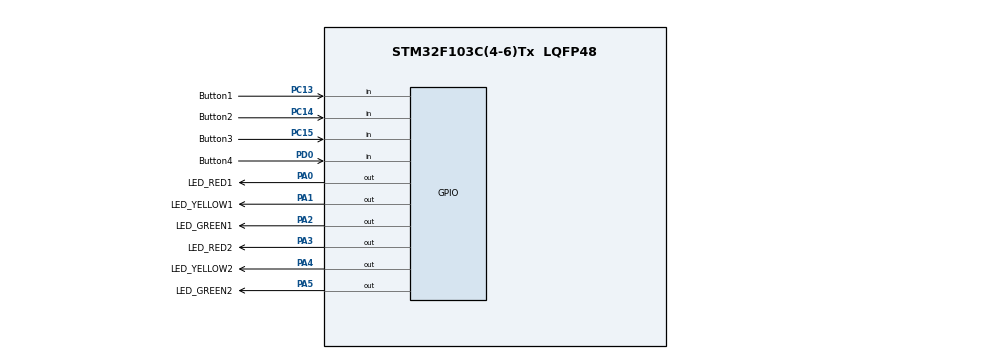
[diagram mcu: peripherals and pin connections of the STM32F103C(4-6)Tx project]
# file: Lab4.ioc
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Mcu.Family=STM32F1
Mcu.Name=STM32F103C(4-6)Tx
Mcu.Package=LQFP48
NVIC.PriorityGroup=NVIC_PRIORITYGROUP_4
NVIC.TIM2_IRQn=true\:0\:0\:false\:false\:true\:true\:true
PA0-WKUP.GPIO_Label=LED_RED1
PA0-WKUP.Signal=GPIO_Output
PA1.GPIO_Label=LED_YELLOW1
PA1.Signal=GPIO_Output
PA13.Mode=Serial_Wire
PA13.Signal=SYS_JTMS-SWDIO
PA14.Mode=Serial_Wire
PA14.Signal=SYS_JTCK-SWCLK
PA2.GPIO_Label=LED_GREEN1
PA2.Signal=GPIO_Output
PA3.GPIO_Label=LED_RED2
PA3.Signal=GPIO_Output
PA4.GPIO_Label=LED_YELLOW2
PA4.Signal=GPIO_Output
PA5.GPIO_Label=LED_GREEN2
PA5.Signal=GPIO_Output
PC13-TAMPER-RTC.GPIO_Label=Button1
PC13-TAMPER-RTC.GPIO_PuPd=GPIO_PULLUP
PC13-TAMPER-RTC.Signal=GPIO_Input
PC14-OSC32_IN.GPIO_Label=Button2
PC14-OSC32_IN.GPIO_PuPd=GPIO_PULLUP
PC14-OSC32_IN.Signal=GPIO_Input
PC15-OSC32_OUT.GPIO_Label=Button3
PC15-OSC32_OUT.GPIO_PuPd=GPIO_PULLUP
PC15-OSC32_OUT.Signal=GPIO_Input
PD0-OSC_IN.GPIO_Label=Button4
PD0-OSC_IN.GPIO_PuPd=GPIO_PULLUP
PD0-OSC_IN.Signal=GPIO_Input
ProjectManager.HeapSize=0x200
ProjectManager.StackSize=0x400
ProjectManager.TargetToolchain=STM32CubeIDE
RCC.APB1Freq_Value=8000000
RCC.APB2Freq_Value=8000000
TIM2.Period=9
TIM2.Prescaler=7999
VP_TIM2_VS_ClockSourceINT.Mode=Internal
board=custom

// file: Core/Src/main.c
/* USER CODE BEGIN Header */
/**
  ******************************************************************************
  * @file           : main.c
  * @brief          : Main program body
  ******************************************************************************
  * @attention
  *
  * <h2><center>&copy; Copyright (c) 2023 STMicroelectronics.
  * All rights reserved.</center></h2>
  *
  * This software component is licensed by ST under BSD 3-Clause license,
  * the "License"; You may not use this file except in compliance with the
  * License. You may obtain a copy of the License at:
  *                        opensource.org/licenses/BSD-3-Clause
  *
  ******************************************************************************
  */
/* USER CODE END Header */
#include "main.h"

/* USER CODE BEGIN Includes */
#include "software_timer.h"
#include "display_led.h"
#include "scheduler.h"
#include "toggle_led.h"
/* USER CODE END Includes */

TIM_HandleTypeDef htim2;

void SystemClock_Config(void);
static void MX_GPIO_Init(void);
static void MX_TIM2_Init(void);

/* USER CODE BEGIN 0 */
void ledred1test(){
	toggle_LED_RED1();
}

void ledyellow1test(){
	toggle_LED_YELLOW1();
}

void ledgreen1test(){
	toggle_LED_GREEN1();
}

void ledred2on(){
	HAL_GPIO_WritePin(LED_RED2_GPIO_Port, LED_RED2_Pin, RESET);
}

void ledred2off(){
	HAL_GPIO_WritePin(LED_RED2_GPIO_Port, LED_RED2_Pin, SET);
}
/* USER CODE END 0 */

int main(void)
{

  /* MCU Configuration--------------------------------------------------------*/

  /* Reset of all peripherals, Initializes the Flash interface and the Systick. */
  HAL_Init();

  /* Configure the system clock */
  SystemClock_Config();

  /* Initialize all configured peripherals */
  MX_GPIO_Init();
  MX_TIM2_Init();
  /* USER CODE BEGIN 2 */
  HAL_TIM_Base_Start_IT(&htim2);
  /* USER CODE END 2 */

  /* Infinite loop */
  /* USER CODE BEGIN WHILE */
  HAL_GPIO_WritePin(LED_RED2_GPIO_Port, LED_RED2_Pin, SET);

   SCH_Add_Task(ledred1test, 1000, 2000);

   SCH_Add_Task(ledred2on, 6000, 0);	//one shot

   SCH_Add_Task(ledyellow1test, 3000, 2000);

   SCH_Add_Task(ledred2off, 8000, 0);	//one shot

   SCH_Add_Task(ledgreen1test, 5000, 2000);
  while (1)
  {
	  SCH_Dispatch_Tasks();
    /* USER CODE END WHILE */

  }
}

void SystemClock_Config(void)
{
  RCC_OscInitTypeDef RCC_OscInitStruct = {0};
  RCC_ClkInitTypeDef RCC_ClkInitStruct = {0};

  /** Initializes the RCC Oscillators according to the specified parameters
  * in the RCC_OscInitTypeDef structure.
  */
  RCC_OscInitStruct.OscillatorType = RCC_OSCILLATORTYPE_HSI;
  RCC_OscInitStruct.HSIState = RCC_HSI_ON;
  RCC_OscInitStruct.HSICalibrationValue = RCC_HSICALIBRATION_DEFAULT;
  RCC_OscInitStruct.PLL.PLLState = RCC_PLL_NONE;
  if (HAL_RCC_OscConfig(&RCC_OscInitStruct) != HAL_OK)
  {
    Error_Handler();
  }
  /** Initializes the CPU, AHB and APB buses clocks
  */
  RCC_ClkInitStruct.ClockType = RCC_CLOCKTYPE_HCLK|RCC_CLOCKTYPE_SYSCLK
                              |RCC_CLOCKTYPE_PCLK1|RCC_CLOCKTYPE_PCLK2;
  RCC_ClkInitStruct.SYSCLKSource = RCC_SYSCLKSOURCE_HSI;
  RCC_ClkInitStruct.AHBCLKDivider = RCC_SYSCLK_DIV1;
  RCC_ClkInitStruct.APB1CLKDivider = RCC_HCLK_DIV1;
  RCC_ClkInitStruct.APB2CLKDivider = RCC_HCLK_DIV1;

  if (HAL_RCC_ClockConfig(&RCC_ClkInitStruct, FLASH_LATENCY_0) != HAL_OK)
  {
    Error_Handler();
  }
}

static void MX_TIM2_Init(void)
{

  TIM_ClockConfigTypeDef sClockSourceConfig = {0};
  TIM_MasterConfigTypeDef sMasterConfig = {0};

  htim2.Instance = TIM2;
  htim2.Init.Prescaler = 7999;
  htim2.Init.CounterMode = TIM_COUNTERMODE_UP;
  htim2.Init.Period = 9;
  htim2.Init.ClockDivision = TIM_CLOCKDIVISION_DIV1;
  htim2.Init.AutoReloadPreload = TIM_AUTORELOAD_PRELOAD_DISABLE;
  if (HAL_TIM_Base_Init(&htim2) != HAL_OK)
  {
    Error_Handler();
  }
  sClockSourceConfig.ClockSource = TIM_CLOCKSOURCE_INTERNAL;
  if (HAL_TIM_ConfigClockSource(&htim2, &sClockSourceConfig) != HAL_OK)
  {
    Error_Handler();
  }
  sMasterConfig.MasterOutputTrigger = TIM_TRGO_RESET;
  sMasterConfig.MasterSlaveMode = TIM_MASTERSLAVEMODE_DISABLE;
  if (HAL_TIMEx_MasterConfigSynchronization(&htim2, &sMasterConfig) != HAL_OK)
  {
    Error_Handler();
  }

}

static void MX_GPIO_Init(void)
{
  GPIO_InitTypeDef GPIO_InitStruct = {0};

  /* GPIO Ports Clock Enable */
  __HAL_RCC_GPIOC_CLK_ENABLE();
  __HAL_RCC_GPIOD_CLK_ENABLE();
  __HAL_RCC_GPIOA_CLK_ENABLE();

  /*Configure GPIO pin Output Level */
  HAL_GPIO_WritePin(GPIOA, LED_RED1_Pin|LED_YELLOW1_Pin|LED_GREEN1_Pin|LED_RED2_Pin
                          |LED_YELLOW2_Pin|LED_GREEN2_Pin, GPIO_PIN_RESET);

  /*Configure GPIO pins : Button1_Pin Button2_Pin Button3_Pin */
  GPIO_InitStruct.Pin = Button1_Pin|Button2_Pin|Button3_Pin;
  GPIO_InitStruct.Mode = GPIO_MODE_INPUT;
  GPIO_InitStruct.Pull = GPIO_PULLUP;
  HAL_GPIO_Init(GPIOC, &GPIO_InitStruct);

  /*Configure GPIO pin : Button4_Pin */
  GPIO_InitStruct.Pin = Button4_Pin;
  GPIO_InitStruct.Mode = GPIO_MODE_INPUT;
  GPIO_InitStruct.Pull = GPIO_PULLUP;
  HAL_GPIO_Init(Button4_GPIO_Port, &GPIO_InitStruct);

  /*Configure GPIO pins : LED_RED1_Pin LED_YELLOW1_Pin LED_GREEN1_Pin LED_RED2_Pin
                           LED_YELLOW2_Pin LED_GREEN2_Pin */
  GPIO_InitStruct.Pin = LED_RED1_Pin|LED_YELLOW1_Pin|LED_GREEN1_Pin|LED_RED2_Pin
                          |LED_YELLOW2_Pin|LED_GREEN2_Pin;
  GPIO_InitStruct.Mode = GPIO_MODE_OUTPUT_PP;
  GPIO_InitStruct.Pull = GPIO_NOPULL;
  GPIO_InitStruct.Speed = GPIO_SPEED_FREQ_LOW;
  HAL_GPIO_Init(GPIOA, &GPIO_InitStruct);

  /*Configure peripheral I/O remapping */
  __HAL_AFIO_REMAP_PD01_ENABLE();

}

/* USER CODE BEGIN 4 */
void HAL_TIM_PeriodElapsedCallback(TIM_HandleTypeDef *htim){
	SCH_Update();
}
/* USER CODE END 4 */

void Error_Handler(void)
{
  __disable_irq();
  while (1)
  {
  }
}

/************************ (C) COPYRIGHT STMicroelectronics *****END OF FILE****/
